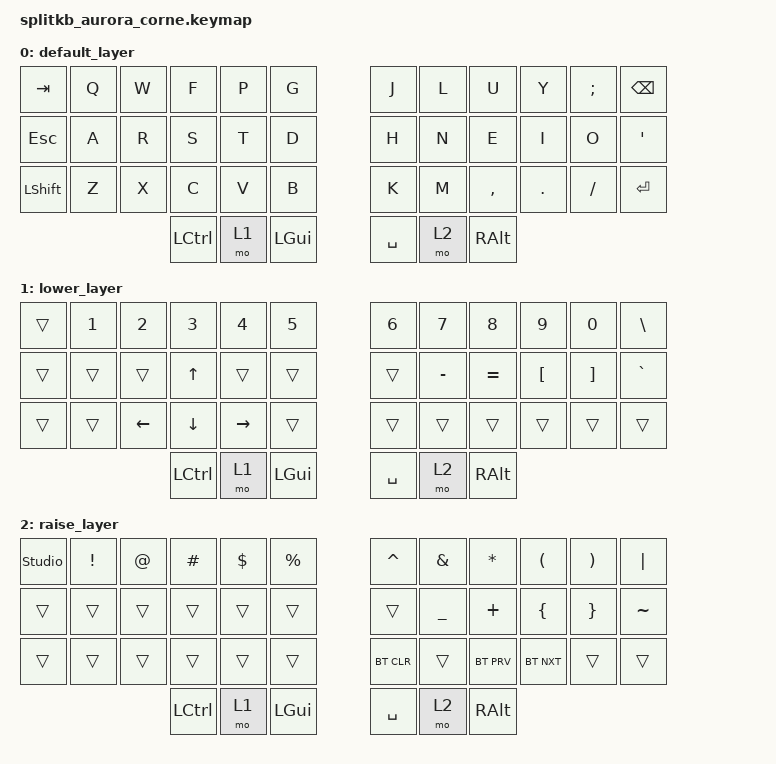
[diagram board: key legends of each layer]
/*
 * Copyright (c) 2020 The ZMK Contributors
 *
 * SPDX-License-Identifier: MIT
 */

#include <behaviors.dtsi>
#include <dt-bindings/zmk/keys.h>
#include <dt-bindings/zmk/bt.h>

/ {
        keymap {
                compatible = "zmk,keymap";

                default_layer {
// -------------------------------------------------------------------------------------------------------------------------------------
// | ESC     |    Q    |    W    |    F    |    P    |    G    |           |    J    |    L    |    U    |    Y    |    ;    |  BKSP   |
// | TAB     |    A    |    R    |    S    |    T    |    D    |           |    H    |    N    |    E    |    I    |    O    |    '    |
// | SHFT    |    Z    |    X    |    C    |    V    |    B    |           |    K    |    M    |    ,    |    .    |    /    |   RET   |
//                                    |  CTRL   |   LWR   |   GUI   | |   SPC   |   RSE   |   ALT   |
                        bindings = <
    &kp TAB   &kp Q     &kp W     &kp F     &kp P     &kp G                 &kp J     &kp L     &kp U     &kp Y     &kp SEMI     &kp BSPC
    &kp ESC   &kp A     &kp R     &kp S     &kp T     &kp D                 &kp H     &kp N     &kp E     &kp I     &kp O  &kp SQT
    &kp LSHFT &kp Z     &kp X     &kp C     &kp V     &kp B                 &kp K     &kp M     &kp COMMA &kp DOT   &kp FSLH  &kp RET
                                       &kp LCTRL   &mo 1   &kp LGUI   &kp SPACE &mo 2     &kp RALT
                        >;
                };
                lower_layer {
// ------------------------------------------------------------------------------------------------------------------------------------
// |         |    1    |    2    |    3    |    4    |    5    |           |    6    |    7    |    8    |    9    |    0    |    \    |
// |         |         |         |   UP    |         |         |           |         |    _    |    =    |    [    |    ]    |    ~    |
// |         |         |  LEFT   |   DOWN  |  RIGHT  |         |           |         |         |         |         |         |         |
//                                    |  CTRL   |   LWR   |   GUI   | |   RET   |   RSE   |   ALT   |
                        bindings = <
    &trans    &kp N1   &kp N2    &kp N3    &kp N4    &kp N5                &kp N6    &kp N7    &kp N8    &kp N9    &kp N0    &kp BSLH
    &trans    &trans   &trans    &kp UP    &trans    &trans                &trans    &kp MINUS &kp EQUAL &kp LBKT  &kp RBKT  &kp GRAVE
    &trans    &trans   &kp LEFT  &kp DOWN  &kp RIGHT &trans                &trans    &trans    &trans    &trans    &trans    &trans
                                       &kp LCTRL   &mo 1   &kp LGUI    &kp SPACE   &mo 2     &kp RALT
                        >;
                };

                raise_layer {
// ------------------------------------------------------------------------------------------------------------------------------------
// |         |    !    |    @    |    #    |    $    |    %    |           |    ^    |    &    |    *    |    (    |    )    |   "|"   |
// |         |         |         |         |         |         |           |         |    -    |    +    |    {    |    }    |    `    |
// |         |         |         |         |         |         |           |         |         |         |         |         |         |
//                                    |  CTRL   |   LWR   |   BSPC   | |   SPC   |   RSE   |   ALT
                        bindings = <
   &studio_unlock     &kp EXCL  &kp AT    &kp HASH  &kp DLLR  &kp PRCNT             &kp CARET &kp AMPS  &kp ASTRK &kp LPAR &kp RPAR  &kp PIPE
   &trans     &trans    &trans    &trans    &trans    &trans                &trans    &kp UNDER &kp PLUS  &kp LBRC &kp RBRC  &kp TILDE
   &trans     &trans    &trans    &trans    &trans    &trans                &bt BT_CLR  &trans  &bt BT_PRV  &bt BT_NXT  &trans  &trans
                                       &kp LCTRL   &mo 1   &kp LGUI   &kp SPACE &mo 2     &kp RALT
                        >;
                };
        };
};
